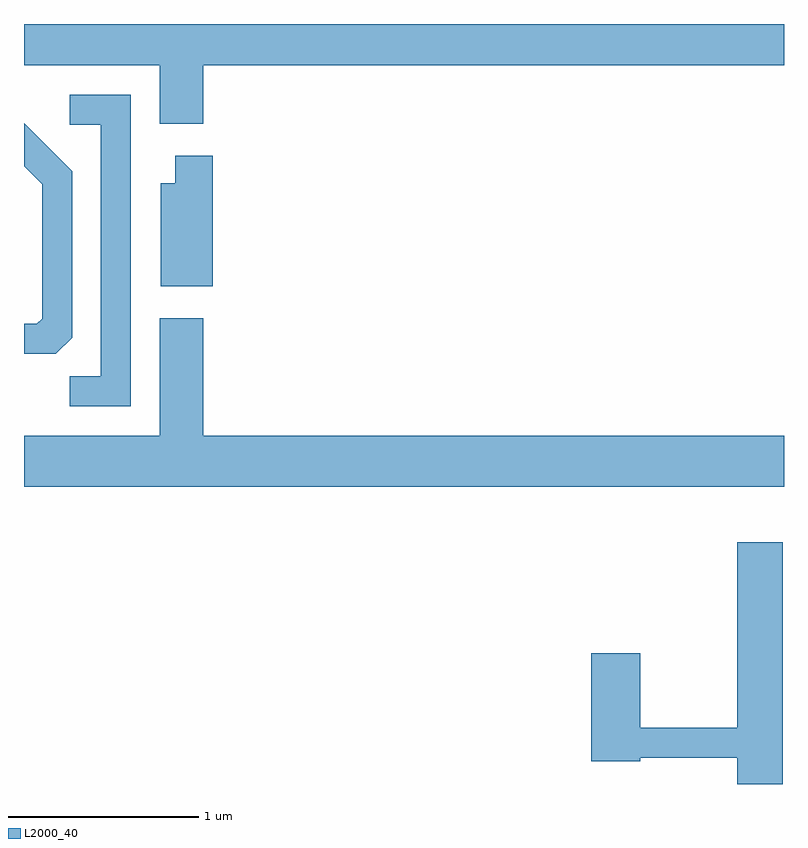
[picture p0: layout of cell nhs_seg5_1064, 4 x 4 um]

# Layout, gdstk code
import gdstk
lib = gdstk.Library(unit=1e-6, precision=1e-09)
def P(c, l, *ps):  # polygons
    for p in ps: c.add(gdstk.Polygon(p, *l))
L2000_40 = (2000, 40)

nhs_seg5_1064 = lib.new_cell('nhs_seg5_1064')
P(nhs_seg5_1064, L2000_40, [(216.554,1507.856),(219.611,1507.856),(219.611,1508.072),(215.611,1508.072),(215.611,1507.856),(216.326,1507.856),(216.326,1507.546),(216.554,1507.546)],
  [(216.174,1507.699),(215.853,1507.699),(215.853,1507.541),(216.016,1507.541),(216.016,1506.219),(215.853,1506.219),(215.853,1506.061),(216.174,1506.061)],
  [(215.864,1506.422),(215.864,1507.297),(215.611,1507.55),(215.611,1507.324),(215.706,1507.229),(215.706,1506.522),(215.679,1506.494),(215.611,1506.494),(215.611,1506.336),(215.779,1506.336)],
  [(216.604,1507.379),(216.406,1507.379),(216.406,1507.234),(216.331,1507.234),(216.331,1506.691),(216.604,1506.691)],
  [(219.611,1505.904),(216.554,1505.904),(216.554,1506.524),(216.326,1506.524),(216.326,1505.904),(215.611,1505.904),(215.611,1505.636),(219.611,1505.636)],
  [(219.604,1505.344),(219.366,1505.344),(219.366,1504.369),(218.854,1504.369),(218.854,1504.759),(218.596,1504.759),(218.596,1504.191),(218.854,1504.191),(218.854,1504.211),(219.366,1504.211),(219.366,1504.072),(219.604,1504.072)])

lib.write_gds('nhs_seg5_1064.gds')
